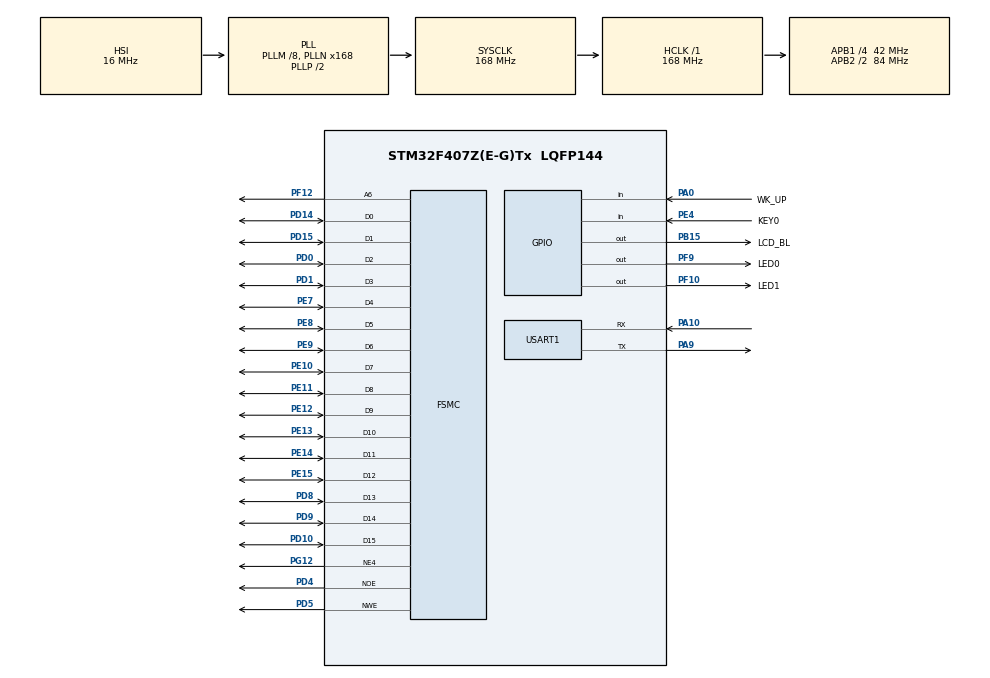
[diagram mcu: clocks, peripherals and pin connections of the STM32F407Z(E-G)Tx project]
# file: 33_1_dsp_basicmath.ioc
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FSMC.AddressSetupTime1=15
FSMC.BusTurnAroundDuration1=0
FSMC.DataSetupTime1=60
FSMC.ExtendedAddressSetupTime1=9
FSMC.ExtendedBusTurnAroundDuration1=0
FSMC.ExtendedDataSetupTime1=9
FSMC.ExtendedMode1=FSMC_EXTENDED_MODE_ENABLE
Mcu.Family=STM32F4
Mcu.Name=STM32F407Z(E-G)Tx
Mcu.Package=LQFP144
NVIC.PriorityGroup=NVIC_PRIORITYGROUP_2
NVIC.TIM6_DAC_IRQn=true\:2\:1\:true\:false\:true\:true\:true\:true
NVIC.USART1_IRQn=true\:2\:2\:true\:false\:true\:true\:true\:true
PA0-WKUP.GPIO_Label=WK_UP
PA0-WKUP.GPIO_PuPd=GPIO_PULLDOWN
PA0-WKUP.Signal=GPIO_Input
PA10.GPIO_PuPd=GPIO_PULLUP
PA10.Mode=Asynchronous
PA10.Signal=USART1_RX
PA13.Mode=Serial_Wire
PA13.Signal=SYS_JTMS-SWDIO
PA14.Mode=Serial_Wire
PA14.Signal=SYS_JTCK-SWCLK
PA9.GPIO_PuPd=GPIO_PULLUP
PA9.Mode=Asynchronous
PA9.Signal=USART1_TX
PB15.GPIO_Label=LCD_BL
PB15.GPIO_PuPd=GPIO_PULLUP
PB15.GPIO_Speed=GPIO_SPEED_FREQ_VERY_HIGH
PB15.PinState=GPIO_PIN_SET
PB15.Signal=GPIO_Output
PC14-OSC32_IN.Mode=LSE-External-Oscillator
PC14-OSC32_IN.Signal=RCC_OSC32_IN
PC15-OSC32_OUT.Mode=LSE-External-Oscillator
PC15-OSC32_OUT.Signal=RCC_OSC32_OUT
PD0.Signal=FSMC_D2_DA2
PD1.Signal=FSMC_D3_DA3
PD10.Signal=FSMC_D15_DA15
PD14.Signal=FSMC_D0_DA0
PD15.Signal=FSMC_D1_DA1
PD4.Signal=FSMC_NOE
PD5.Signal=FSMC_NWE
PD8.Signal=FSMC_D13_DA13
PD9.Signal=FSMC_D14_DA14
PE10.Signal=FSMC_D7_DA7
PE11.Signal=FSMC_D8_DA8
PE12.Signal=FSMC_D9_DA9
PE13.Signal=FSMC_D10_DA10
PE14.Signal=FSMC_D11_DA11
PE15.Signal=FSMC_D12_DA12
PE4.GPIO_Label=KEY0
PE4.GPIO_PuPd=GPIO_PULLDOWN
PE4.Signal=GPIO_Input
PE7.Signal=FSMC_D4_DA4
PE8.Signal=FSMC_D5_DA5
PE9.Signal=FSMC_D6_DA6
PF10.GPIO_Label=LED1
PF10.GPIO_PuPd=GPIO_PULLDOWN
PF10.GPIO_Speed=GPIO_SPEED_FREQ_VERY_HIGH
PF10.PinState=GPIO_PIN_SET
PF10.Signal=GPIO_Output
PF12.Signal=FSMC_A6
PF9.GPIO_Label=LED0
PF9.GPIO_PuPd=GPIO_PULLDOWN
PF9.GPIO_Speed=GPIO_SPEED_FREQ_VERY_HIGH
PF9.PinState=GPIO_PIN_SET
PF9.Signal=GPIO_Output
PG12.Mode=NorPsramChipSelect4_1
PG12.Signal=FSMC_NE4
PH0-OSC_IN.Mode=HSE-External-Oscillator
PH0-OSC_IN.Signal=RCC_OSC_IN
PH1-OSC_OUT.Mode=HSE-External-Oscillator
PH1-OSC_OUT.Signal=RCC_OSC_OUT
ProjectManager.HeapSize=0x200
ProjectManager.StackSize=0x400
ProjectManager.TargetToolchain=STM32CubeIDE
RCC.48MHZClocksFreq_Value=84000000
RCC.AHBFreq_Value=168000000
RCC.APB1CLKDivider=RCC_HCLK_DIV4
RCC.APB1Freq_Value=42000000
RCC.APB1TimFreq_Value=84000000
RCC.APB2CLKDivider=RCC_HCLK_DIV2
RCC.APB2Freq_Value=84000000
RCC.APB2TimFreq_Value=168000000
RCC.CortexFreq_Value=168000000
RCC.HCLKFreq_Value=168000000
RCC.HSE_VALUE=25000000
RCC.HSI_VALUE=16000000
RCC.PLLM=8
RCC.PLLN=168
RCC.SYSCLKFreq_VALUE=168000000
RCC.SYSCLKSource=RCC_SYSCLKSOURCE_PLLCLK
RCC.VCOOutputFreq_Value=336000000
SH.FSMC_A6.0=FSMC_A6,A6_1
SH.FSMC_D0_DA0.0=FSMC_D0,16b-d1
SH.FSMC_D10_DA10.0=FSMC_D10,16b-d1
SH.FSMC_D11_DA11.0=FSMC_D11,16b-d1
SH.FSMC_D12_DA12.0=FSMC_D12,16b-d1
SH.FSMC_D13_DA13.0=FSMC_D13,16b-d1
SH.FSMC_D14_DA14.0=FSMC_D14,16b-d1
SH.FSMC_D15_DA15.0=FSMC_D15,16b-d1
SH.FSMC_D1_DA1.0=FSMC_D1,16b-d1
SH.FSMC_D2_DA2.0=FSMC_D2,16b-d1
SH.FSMC_D3_DA3.0=FSMC_D3,16b-d1
SH.FSMC_D4_DA4.0=FSMC_D4,16b-d1
SH.FSMC_D5_DA5.0=FSMC_D5,16b-d1
SH.FSMC_D6_DA6.0=FSMC_D6,16b-d1
SH.FSMC_D7_DA7.0=FSMC_D7,16b-d1
SH.FSMC_D8_DA8.0=FSMC_D8,16b-d1
SH.FSMC_D9_DA9.0=FSMC_D9,16b-d1
SH.FSMC_NOE.0=FSMC_NOE,Lcd1
SH.FSMC_NWE.0=FSMC_NWE,Lcd1
TIM6.AutoReloadPreload=TIM_AUTORELOAD_PRELOAD_ENABLE
TIM6.Prescaler=8400 - 1
USART1.VirtualMode=VM_ASYNC
VP_TIM6_VS_ClockSourceINT.Mode=Enable_Timer
board=custom

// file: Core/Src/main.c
/* USER CODE BEGIN Header */
/**
 ****************************************************************************************************
 * @file        main.c
 * @author      ALIENTEK
 * @brief       DSP_Basicmath code
 * @license     Copyright (C) 2020-2032, ALIENTEK
 ****************************************************************************************************
 * @attention
 *
 * platform     : ALIENTEK M144-STM32F407 board
 * website      : https://www.alientek.com
 * forum        : http://www.openedv.com/forum.php
 *
 * change logs  :
 * version    data    notes
 * V1.0     20240410  the first version
 *
 ****************************************************************************************************
 */
/* USER CODE END Header */
#include "main.h"
#include "tim.h"
#include "usart.h"
#include "gpio.h"
#include "fsmc.h"

/* USER CODE BEGIN Includes */
#include "../../BSP/LED/led.h"
#include "../../BSP/KEY/key.h"
#include "../../BSP/LCD/lcd.h"
#include "../../SYSTEM/delay/delay.h"
#include "arm_math.h"
/* USER CODE END Includes */

void SystemClock_Config(void);

/* USER CODE BEGIN 0 */

/* 定义误差�? */
#define DELTA   0.0001f                 /* error value */
uint8_t g_timeout;

extern float32_t arm_cos_f32(float32_t x);

/**
 * @brief sin cos test
 * @param angle : the starting Angle
 * @param times : The number of operations
 * @param mode  : Whether DSP libraries are used or not
 * @arg   0, does not use DSP libraries;
 * @arg   1, using the DSP library;
 *
 * @retval none
 */
uint8_t sin_cos_test(float angle, uint32_t times, uint8_t mode)
{
    float sinx, cosx;
    float result;
    uint32_t i = 0;

    if (mode == 0)
    {
        for (i = 0; i < times; i++)
        {
            cosx = cosf(angle);                 /* Dsp-optimized sin, cos functions are not used */
            sinx = sinf(angle);
            result = sinx * sinx + cosx * cosx; /* It should be equal to 1 */
            result = fabsf(result - 1.0f);      /* Compare the difference with 1 */

            if (result > DELTA)
            	{
            		return 0XFF;     /* Failure to judge */
            	}

            angle += 0.001f;    /* Angle self-increasing */
        }
    }
    else
    {
        for (i = 0; i < times; i++)
        {
            cosx = arm_cos_f32(angle);          /* Using DSP optimized sin, cos functions */
            sinx = arm_sin_f32(angle);
            result = sinx * sinx + cosx * cosx; /* It should be equal to 1 */
            result = fabsf(result - 1.0f);      /* Compare the difference with 1 */

            if (result > DELTA)
            	{
            		return 0XFF;     /* Failure to judge */
            	}

            angle += 0.001f;    /* Angle self-increasing */
        }
    }

    return 0;   /* completion of task */
}

/* USER CODE END 0 */

int main(void)
{
  /* USER CODE BEGIN 1 */
    float time;
    char buf[50];
    uint8_t res;
  /* USER CODE END 1 */

  /* MCU Configuration--------------------------------------------------------*/

  /* Reset of all peripherals, Initializes the Flash interface and the Systick. */
  HAL_Init();

  /* Configure the system clock */
  SystemClock_Config();

  /* USER CODE BEGIN SysInit */
  delay_init(168);
  /* USER CODE END SysInit */

  /* Initialize all configured peripherals */
  MX_GPIO_Init();
  MX_USART1_UART_Init();
  MX_FSMC_Init();
  MX_TIM6_Init();
  /* USER CODE BEGIN 2 */

  lcd_init();
  lcd_show_string(30, 50, 200, 16, 16, "STM32", RED);
  lcd_show_string(30, 70, 200, 16, 16, "DSP BasicMath TEST", RED);
  lcd_show_string(30, 90, 200, 16, 16, "ATOM@ALIENTEK", RED);

  lcd_show_string(30, 110, 200, 16, 16, "No DSP runtime:", RED);
  lcd_show_string(30, 130, 200, 16, 16, "Use DSP runtime:", RED);

  /* USER CODE END 2 */

  /* Infinite loop */
  while (1)
  {
      __HAL_TIM_SET_COUNTER(&htim6, 0);
      g_timeout = 0;
      if (sin_cos_test(PI / 6, 10000, 0) == 0)
      {
          time = __HAL_TIM_GET_COUNTER(&htim6) + (uint32_t)g_timeout * 0x10000;
          sprintf(buf, "%0.1fms\r\n", time / 10);
          lcd_show_string(150, 110, 200, 16, 16, buf, BLUE);
      }
      else
      {
          lcd_show_string(150, 110, 200, 16, 16, "Error", BLUE);
      }

      /* 浣跨敤DSP搴?*/
      __HAL_TIM_SET_COUNTER(&htim6, 0);
      g_timeout = 0;
      if (sin_cos_test(PI / 6, 10000, 1) == 0)
      {
          time = __HAL_TIM_GET_COUNTER(&htim6) + (uint32_t)g_timeout * 0x10000;
          sprintf(buf, "%0.1fms\r\n", time / 10);
          lcd_show_string(158, 130, 200, 16, 16, buf, BLUE);
      }
      else
      {
          lcd_show_string(158, 130, 200, 16, 16, "Error", BLUE);
      }

      LED0_TOGGLE();
  }
}

void SystemClock_Config(void)
{
  RCC_OscInitTypeDef RCC_OscInitStruct = {0};
  RCC_ClkInitTypeDef RCC_ClkInitStruct = {0};

  /** Configure the main internal regulator output voltage
  */
  __HAL_RCC_PWR_CLK_ENABLE();
  __HAL_PWR_VOLTAGESCALING_CONFIG(PWR_REGULATOR_VOLTAGE_SCALE1);

  /** Initializes the RCC Oscillators according to the specified parameters
  * in the RCC_OscInitTypeDef structure.
  */
  RCC_OscInitStruct.OscillatorType = RCC_OSCILLATORTYPE_HSI;
  RCC_OscInitStruct.HSIState = RCC_HSI_ON;
  RCC_OscInitStruct.HSICalibrationValue = RCC_HSICALIBRATION_DEFAULT;
  RCC_OscInitStruct.PLL.PLLState = RCC_PLL_ON;
  RCC_OscInitStruct.PLL.PLLSource = RCC_PLLSOURCE_HSI;
  RCC_OscInitStruct.PLL.PLLM = 8;
  RCC_OscInitStruct.PLL.PLLN = 168;
  RCC_OscInitStruct.PLL.PLLP = RCC_PLLP_DIV2;
  RCC_OscInitStruct.PLL.PLLQ = 4;
  if (HAL_RCC_OscConfig(&RCC_OscInitStruct) != HAL_OK)
  {
    Error_Handler();
  }

  /** Initializes the CPU, AHB and APB buses clocks
  */
  RCC_ClkInitStruct.ClockType = RCC_CLOCKTYPE_HCLK|RCC_CLOCKTYPE_SYSCLK
                              |RCC_CLOCKTYPE_PCLK1|RCC_CLOCKTYPE_PCLK2;
  RCC_ClkInitStruct.SYSCLKSource = RCC_SYSCLKSOURCE_PLLCLK;
  RCC_ClkInitStruct.AHBCLKDivider = RCC_SYSCLK_DIV1;
  RCC_ClkInitStruct.APB1CLKDivider = RCC_HCLK_DIV4;
  RCC_ClkInitStruct.APB2CLKDivider = RCC_HCLK_DIV2;

  if (HAL_RCC_ClockConfig(&RCC_ClkInitStruct, FLASH_LATENCY_5) != HAL_OK)
  {
    Error_Handler();
  }
}

void Error_Handler(void)
{
  __disable_irq();
  while (1)
  {
  }
}
